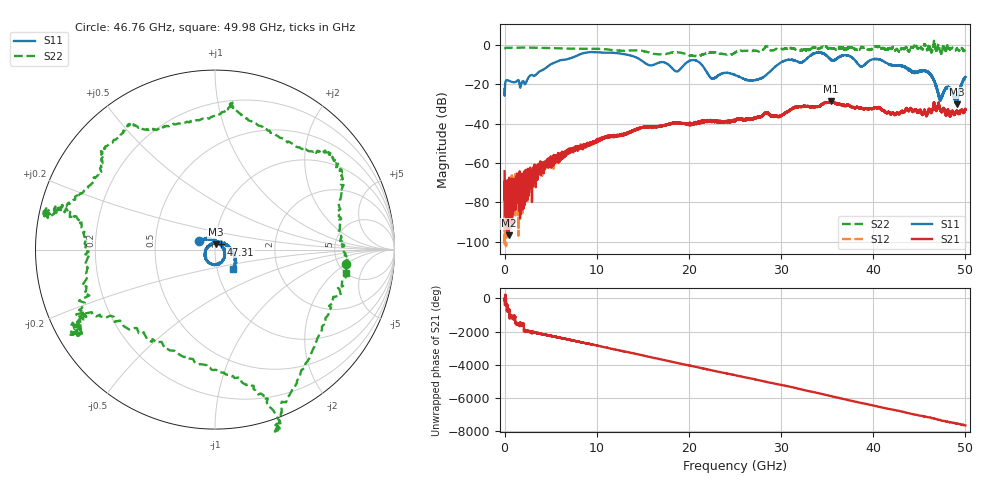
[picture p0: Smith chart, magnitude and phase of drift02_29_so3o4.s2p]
!Created with skrf (http://scikit-rf.org).
# Hz S RI R 50.0
!freq ReS11 ImS11 ReS21 ImS21 ReS12 ImS12 ReS22 ImS22
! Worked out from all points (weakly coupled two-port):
!   10001 points, 300 kHz to 50 GHz, reference 50 ohm
!   highest |S21| = -28.59 dB at 35.44 GHz (marker M1); lowest = -96.6 dB at 425.3 MHz (marker M2)
!   lowest |S11| = -30.2 dB at 49.08 GHz (marker M3), VSWR 1.06, Z = 50.3 + j3.08 ohm
!   |S11| at or under -10 dB: start of sweep to 4.954 GHz; 21.38 GHz to 29.63 GHz (8.256 GHz wide, 32.4 % of centre); 41.87 GHz to end of sweep (the widest 3 of 12)
!   |S22| runs from -5.7 to 2.3 dB; largest |S21 - S12| = 0.0032
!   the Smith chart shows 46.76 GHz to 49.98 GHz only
!   S11 on the Smith chart (normalised r, x): 46.76 GHz: 0.83, +0.08; 47.31 GHz: 1.07, +0.06; 49.98 GHz: 1.20, -0.26
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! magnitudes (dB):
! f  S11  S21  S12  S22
! 300 kHz  -22.5  -64.1  -77.8  -2.1
! 425.3 MHz  -18.1  -96.6  -75.4  -1.4
! 1.875 GHz  -19.0  -72.5  -77.0  -1.3
! 3.64 GHz  -14.0  -65.8  -66.0  -1.5
! 8.335 GHz  -4.5  -51.4  -51.2  -1.9
! 16.67 GHz  -9.1  -41.3  -41.4  -4.7
! 18.7 GHz  -13.5  -39.6  -39.6  -3.7
! 20.6 GHz  -7.7  -40.2  -40.4  -5.7
! 22.51 GHz  -17.1  -38.5  -39.1  -3.7
! 25 GHz  -15.3  -38.7  -38.2  -3.9
! 27.5 GHz  -17.6  -36.7  -36.4  -3.2
! 30.22 GHz  -8.3  -35.2  -35.1  -2.1
! 33.34 GHz  -4.9  -31.3  -31.3  -1.6
! 35.44 GHz  -7.5  -28.6  -28.7  -1.7
! 41.67 GHz  -9.7  -34.2  -34.3  -1.8
! 45.78 GHz  -13.4  -35.7  -35.6  -1.9
! 46.76 GHz  -19.7  -32.9  -32.9  -2.7
! 47.31 GHz  -27.3  -33.2  -33.4  -3.8
! 48.11 GHz  -21.3  -33.2  -33.5  -0.5
! 49.08 GHz  -30.2  -34.1  -33.9  -1.8
! 49.98 GHz  -16.5  -32.7  -32.5  -2.6
! 50 GHz  -16.3  -32.6  -32.7  -2.7
